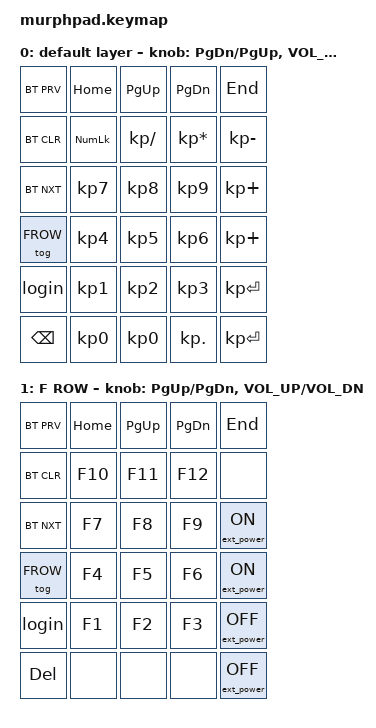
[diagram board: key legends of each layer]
/*
 * Copyright (c) 2021 The ZMK Contributors
 *
 * SPDX-License-Identifier: MIT
 */

#include <behaviors.dtsi>
#include <dt-bindings/zmk/keys.h>
#include <dt-bindings/zmk/bt.h>
#include <dt-bindings/zmk/ext_power.h>

#define DEFAULT 0
#define FROW 1
#define TIMEOUT 300

&encoder_1 {
    status = "okay";
};

&encoder_2 {
    status = "okay";
};

/ {
    combos {
        compatible = "zmk,combos";
        combo_pwron {
            timeout-ms = <TIMEOUT>;
            key-positions = <1 2>;
            bindings = <&bt BT_NXT>;
        };
        combo_reset {
            timeout-ms = <TIMEOUT>;
            key-positions = <1 3>;
            bindings = <&bt BT_CLR>;
        };
        combo_bt_nxt {
            timeout-ms = <TIMEOUT>;
            key-positions = <1 4>;
            bindings = <&reset>;
        };
        combo_bootloader {
            timeout-ms = <TIMEOUT>;
            key-positions = <1 6>;
            bindings = <&bootloader>;
        };
    };
    
    sensors {
        compatible = "zmk,keymap-sensors";
        sensors = <&encoder_1 &encoder_2>;
    };

    macros {
        login: login {
            label = "login";
            compatible = "zmk,behavior-macro";
            #binding-cells = <0>;
            wait-ms = <40>;
            tap-ms = <40>;
            bindings
                = <&kp KP_N0 &kp KP_N6>
                , <&kp KP_N0 &kp KP_N9>
                , <&kp KP_N0 &kp KP_N2>
                , <&kp KP_N2 &kp KP_N8>
                ;
        };
    };

    keymap0: keymap {
        compatible = "zmk,keymap";

        default_layer {
            label = "default layer";
            bindings = <
                &bt BT_PRV  &kp HOME    &kp PG_UP      &kp PG_DN        &kp END   
                &bt BT_CLR  &kp KP_NUM  &kp KP_DIVIDE  &kp KP_MULTIPLY  &kp KP_MINUS    
                &bt BT_NXT  &kp KP_N7   &kp KP_N8      &kp KP_N9        &kp KP_PLUS   
                &tog FROW   &kp KP_N4   &kp KP_N5      &kp KP_N6        &kp KP_PLUS
                &login      &kp KP_N1   &kp KP_N2      &kp KP_N3        &kp KP_ENTER
                &kp BSPC    &kp KP_N0   &kp KP_N0      &kp KP_DOT       &kp KP_ENTER
            >;
            sensor-bindings = <&inc_dec_kp PG_DN PG_UP &inc_dec_kp C_VOL_DN C_VOL_UP>;

        }; 
        
        fn_layer {
            label = "F ROW";
            bindings = <
                &bt BT_PRV  &kp HOME  &kp PG_UP  &kp PG_DN  &kp END  
                &bt BT_CLR  &kp F10   &kp F11    &kp F12    &none     
                &bt BT_NXT  &kp F7    &kp F8     &kp F9     &ext_power EP_ON
                &tog FROW   &kp F4    &kp F5     &kp F6     &ext_power EP_ON    
                &login      &kp F1    &kp F2     &kp F3     &ext_power EP_OFF
                &kp DEL     &none     &none      &none      &ext_power EP_OFF           
            >;  
            sensor-bindings = <&inc_dec_kp PG_UP PG_DN &inc_dec_kp C_VOL_UP C_VOL_DN>;
                
        };
    };
};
